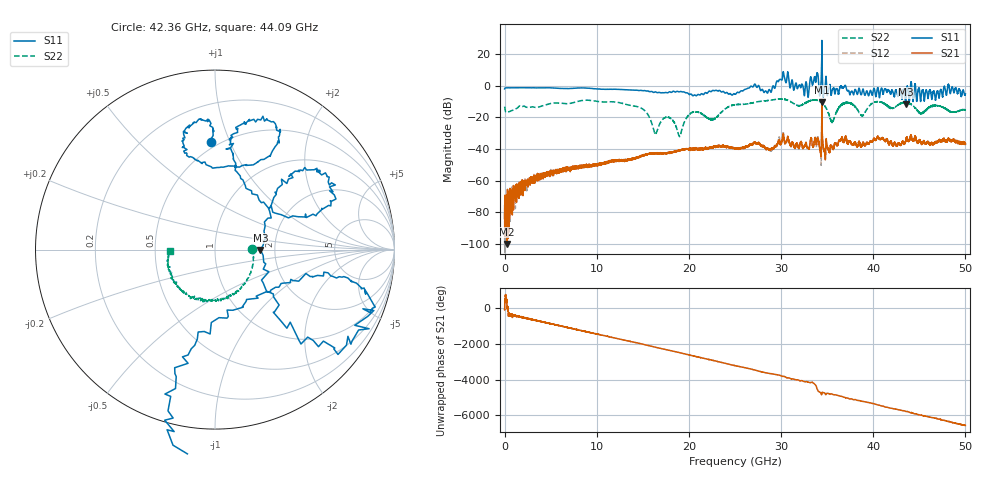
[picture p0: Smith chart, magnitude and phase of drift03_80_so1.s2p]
!Created with skrf (http://scikit-rf.org).
# Hz S RI R 50.0
!freq ReS11 ImS11 ReS21 ImS21 ReS12 ImS12 ReS22 ImS22
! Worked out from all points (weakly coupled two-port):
!   10000 points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, 5.3 MHz to 50 GHz, reference 50 ohm
!   highest |S21| = -10.44 dB at 34.43 GHz (marker M1); lowest = -100.0 dB at 275.3 MHz (marker M2)
!   lowest |S11| = -11.9 dB at 43.52 GHz (marker M3), VSWR 1.68, Z = 83.9 - j0.235 ohm
!   |S11| at or under -10 dB: 43.48493 GHz to 43.54387 GHz (58.95 MHz wide, 0.135 % of centre); 43.54784 GHz to 43.5522 GHz (4.361 MHz wide, 0.01 % of centre); 44.31402 GHz to 44.31518 GHz (1.16 MHz wide, 0.00262 % of centre) (the widest 3 of 5)
!   |S22| runs from -32.2 to -8.4 dB; largest |S21 - S12| = 0.097
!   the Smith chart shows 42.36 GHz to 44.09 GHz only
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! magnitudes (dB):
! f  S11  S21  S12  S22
! 5.3 MHz  -2.1  -80.7  -75.5  -13.3
! 275.3 MHz  -1.4  -100.0  -74.2  -17.0
! 2.865 GHz  -1.4  -57.6  -58.8  -13.6
! 8.34 GHz  -1.5  -50.3  -50.9  -9.5
! 14.6 GHz  -3.1  -45.1  -44.9  -13.6
! 16.67 GHz  -4.4  -42.5  -42.6  -26.5
! 17.79 GHz  -4.3  -42.6  -42.6  -20.0
! 19 GHz  -3.9  -40.9  -40.9  -32.2
! 20.31 GHz  -5.7  -39.9  -39.9  -17.1
! 22.61 GHz  -3.0  -39.0  -39.1  -21.4
! 25.01 GHz  -5.5  -39.7  -39.8  -12.1
! 28.72 GHz  -2.5  -40.5  -40.3  -9.3
! 30.14 GHz  4.5  -33.5  -33.9  -8.5
! 32.74 GHz  2.0  -36.5  -36.6  -10.5
! 33.34 GHz  2.6  -34.8  -35.2  -9.3
! 34.43 GHz  28.5  -10.4  -12.9  -10.8
! 35.54 GHz  -3.1  -38.9  -39.1  -23.4
! 36.95 GHz  0.2  -33.3  -33.2  -11.1
! 38.78 GHz  -4.5  -38.0  -37.9  -19.1
! 41.67 GHz  -2.8  -36.9  -36.8  -13.2
! 43.52 GHz  -11.9  -35.1  -35.1  -10.7
! 50 GHz  -5.2  -37.0  -36.5  -15.4
